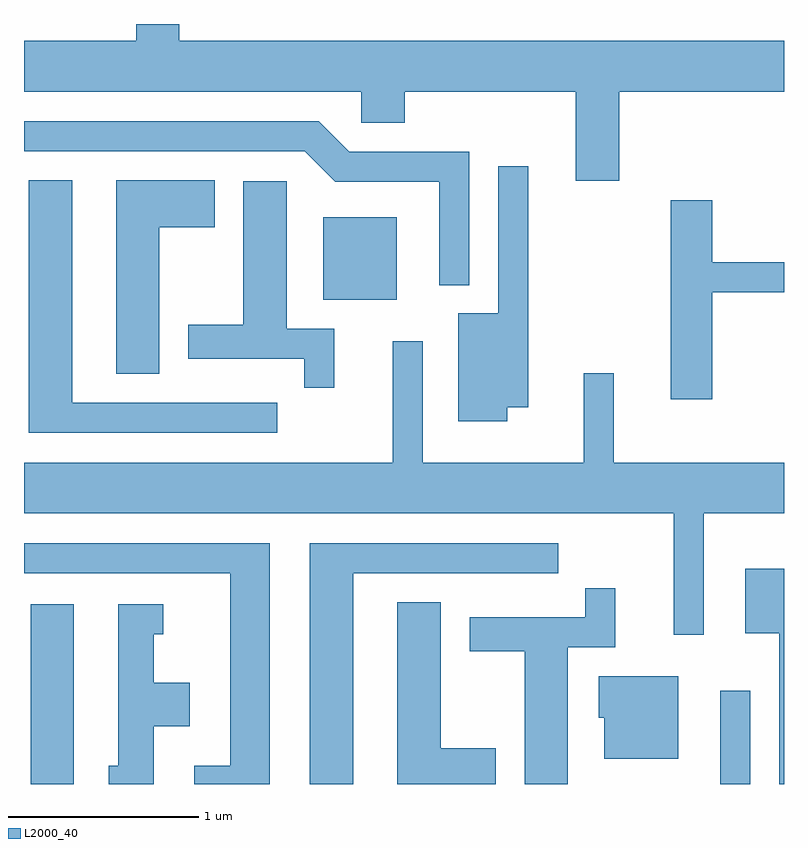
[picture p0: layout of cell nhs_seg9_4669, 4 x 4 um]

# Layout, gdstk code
import gdstk
lib = gdstk.Library(unit=1e-6, precision=1e-09)
def R(c, l, rs):  # rectangles x0, y0, x1, y1
    for r in rs: c.add(gdstk.rectangle(r[:2], r[2:], *l))
def P(c, l, *ps):  # polygons
    for p in ps: c.add(gdstk.Polygon(p, *l))
L2000_40 = (2000, 40)

nhs_seg9_4669 = lib.new_cell('nhs_seg9_4669')
R(nhs_seg9_4669, L2000_40, [(323.646,1950.432,323.874,1951.379), (327.276,1950.432,327.434,1950.923), (325.186,1952.981,325.574,1953.414)])
P(nhs_seg9_4669, L2000_40, [(326.744,1954.076),(327.611,1954.076),(327.611,1954.344),(324.429,1954.344),(324.429,1954.432),(324.201,1954.432),(324.201,1954.344),(323.611,1954.344),(323.611,1954.076),(325.386,1954.076),(325.386,1953.911),(325.614,1953.911),(325.614,1954.076),(326.516,1954.076),(326.516,1953.606),(326.744,1953.606)],
  [(325.954,1953.759),(325.322,1953.759),(325.162,1953.919),(323.611,1953.919),(323.611,1953.761),(325.089,1953.761),(325.249,1953.601),(325.796,1953.601),(325.796,1953.058),(325.954,1953.058)],
  [(326.154,1952.416),(326.264,1952.416),(326.264,1953.683),(326.106,1953.683),(326.106,1952.909),(325.896,1952.909),(325.896,1952.341),(326.154,1952.341)],
  [(324.943,1952.439),(323.864,1952.439),(323.864,1953.609),(323.636,1953.609),(323.636,1952.281),(324.943,1952.281)],
  [(324.324,1953.361),(324.614,1953.361),(324.614,1953.609),(324.096,1953.609),(324.096,1952.591),(324.324,1952.591)],
  [(325.244,1952.829),(324.994,1952.829),(324.994,1953.604),(324.766,1953.604),(324.766,1952.849),(324.476,1952.849),(324.476,1952.671),(325.086,1952.671),(325.086,1952.518),(325.244,1952.518)],
  [(327.234,1953.021),(327.611,1953.021),(327.611,1953.179),(327.234,1953.179),(327.234,1953.504),(327.016,1953.504),(327.016,1952.456),(327.234,1952.456)],
  [(327.189,1951.856),(327.611,1951.856),(327.611,1952.124),(326.714,1952.124),(326.714,1952.593),(326.556,1952.593),(326.556,1952.124),(325.709,1952.124),(325.709,1952.763),(325.551,1952.763),(325.551,1952.124),(323.611,1952.124),(323.611,1951.856),(327.031,1951.856),(327.031,1951.218),(327.189,1951.218)],
  [(324.904,1951.699),(323.611,1951.699),(323.611,1951.541),(324.696,1951.541),(324.696,1950.529),(324.508,1950.529),(324.508,1950.432),(324.904,1950.432)],
  [(325.344,1951.541),(326.423,1951.541),(326.423,1951.699),(325.116,1951.699),(325.116,1950.432),(325.344,1950.432)],
  [(327.611,1951.564),(327.406,1951.564),(327.406,1951.226),(327.586,1951.226),(327.586,1950.432),(327.611,1950.432)],
  [(326.474,1951.151),(326.724,1951.151),(326.724,1951.463),(326.566,1951.463),(326.566,1951.309),(325.956,1951.309),(325.956,1951.131),(326.246,1951.131),(326.246,1950.432),(326.474,1950.432)],
  [(326.094,1950.619),(325.804,1950.619),(325.804,1951.389),(325.576,1951.389),(325.576,1950.432),(326.094,1950.432)],
  [(324.294,1950.736),(324.484,1950.736),(324.484,1950.964),(324.294,1950.964),(324.294,1951.221),(324.343,1951.221),(324.343,1951.379),(324.106,1951.379),(324.106,1950.529),(324.058,1950.529),(324.058,1950.432),(324.294,1950.432)],
  [(327.054,1950.999),(326.636,1950.999),(326.636,1950.781),(326.666,1950.781),(326.666,1950.566),(327.054,1950.566)])

lib.write_gds('nhs_seg9_4669.gds')
